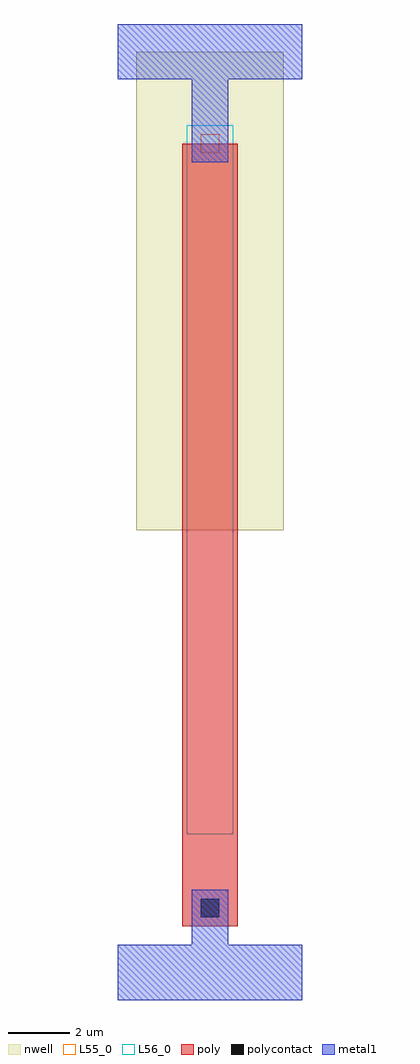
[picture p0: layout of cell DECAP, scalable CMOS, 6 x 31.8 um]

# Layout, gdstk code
import gdstk
lib = gdstk.Library(unit=1e-6, precision=1e-09)
def R(c, l, rs):  # rectangles x0, y0, x1, y1
    for r in rs: c.add(gdstk.rectangle(r[:2], r[2:], *l))
nwell = (42, 0)
poly = (46, 0)
polycontact = (47, 0)
metal1 = (49, 0)
L55_0 = (55, 0)
L56_0 = (56, 0)

decap = lib.new_cell('DECAP')
R(decap, nwell, [(0,14.4,4.8,30)])
R(decap, poly, [(1.5,1.5,3.3,27)])
R(decap, polycontact, [(2.1,1.8,2.7,2.4)])
R(decap, metal1, [(-0.6,-0.9,5.4,0.9), (1.8,0.3,3,2.7), (1.8,1.5,3,2.7), (1.8,26.4,3,27.6), (1.8,26.4,3,29.7), (-0.6,29.1,5.4,30.9)])
R(decap, L55_0, [(2.1,26.7,2.7,27.3)])
R(decap, L56_0, [(1.65,4.5,3.15,27.6)])

lib.write_gds('DECAP.gds')
